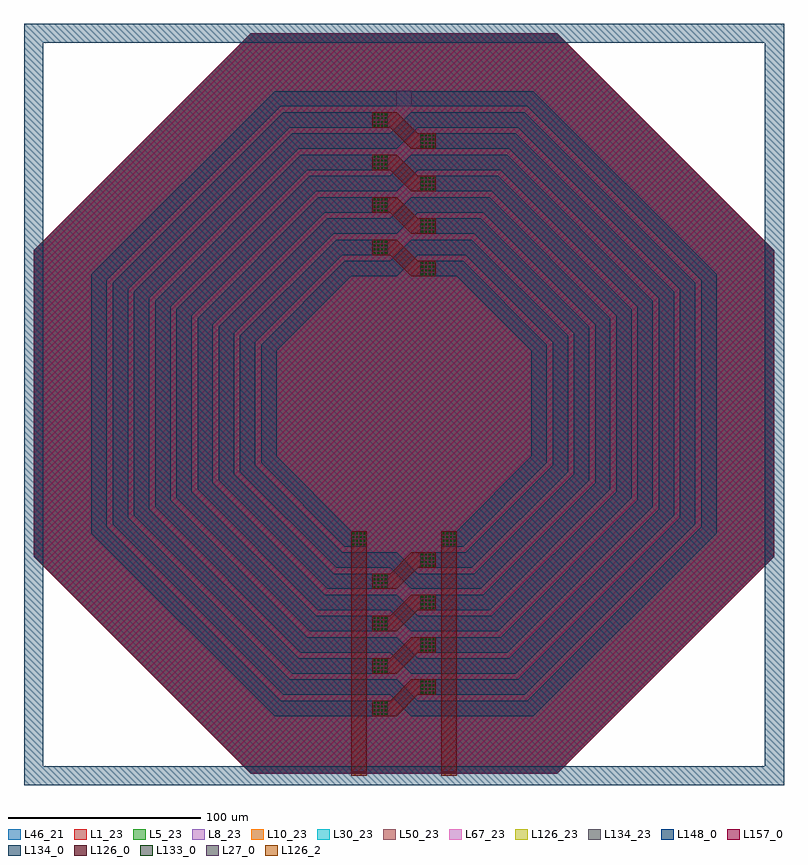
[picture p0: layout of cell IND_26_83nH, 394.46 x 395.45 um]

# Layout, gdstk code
import gdstk
lib = gdstk.Library(unit=1e-6, precision=1e-09)
def R(c, l, rs):  # rectangles x0, y0, x1, y1
    for r in rs: c.add(gdstk.rectangle(r[:2], r[2:], *l))
def A(c, l, x, y, w, h, nx, ny, dx, dy):  # array of equal rectangles
    R(c, l, [(x+i*dx, y+j*dy, x+i*dx+w, y+j*dy+h) for i in range(nx) for j in range(ny)])
def P(c, l, *ps):  # polygons
    for p in ps: c.add(gdstk.Polygon(p, *l))
L1_23 = (1, 23)
L5_23 = (5, 23)
L8_23 = (8, 23)
L10_23 = (10, 23)
L27_0 = (27, 0)
L30_23 = (30, 23)
L46_21 = (46, 21)
L50_23 = (50, 23)
L67_23 = (67, 23)
L126_0 = (126, 0)
L126_2 = (126, 2)
L126_23 = (126, 23)
L133_0 = (133, 0)
L134_0 = (134, 0)
L134_23 = (134, 23)
L148_0 = (148, 0)
L157_0 = (157, 0)

inductor2 = lib.new_cell('inductor2')
P(inductor2, L1_23, [(-79.62,0),(-192.225,112.605),(-192.225,271.845),(-79.62,384.45),(79.62,384.45),(192.225,271.845),(192.225,112.605),(79.62,0)])
P(inductor2, L5_23, [(-79.62,0),(-192.225,112.605),(-192.225,271.845),(-79.62,384.45),(79.62,384.45),(192.225,271.845),(192.225,112.605),(79.62,0)])
P(inductor2, L8_23, [(-79.62,0),(-192.225,112.605),(-192.225,271.845),(-79.62,384.45),(79.62,384.45),(192.225,271.845),(192.225,112.605),(79.62,0)])
P(inductor2, L10_23, [(-79.62,0),(-192.225,112.605),(-192.225,271.845),(-79.62,384.45),(79.62,384.45),(192.225,271.845),(192.225,112.605),(79.62,0)])
R(inductor2, L27_0, [(-4.01,346.42,4.01,354.44)])
P(inductor2, L30_23, [(-79.62,0),(-192.225,112.605),(-192.225,271.845),(-79.62,384.45),(79.62,384.45),(192.225,271.845),(192.225,112.605),(79.62,0)])
P(inductor2, L46_21, [(-79.62,0),(-192.225,112.605),(-192.225,271.845),(-79.62,384.45),(79.62,384.45),(192.225,271.845),(192.225,112.605),(79.62,0)])
P(inductor2, L50_23, [(-79.62,0),(-192.225,112.605),(-192.225,271.845),(-79.62,384.45),(79.62,384.45),(192.225,271.845),(192.225,112.605),(79.62,0)])
P(inductor2, L67_23, [(-79.62,0),(-192.225,112.605),(-192.225,271.845),(-79.62,384.45),(79.62,384.45),(192.225,271.845),(192.225,112.605),(79.62,0)])
P(inductor2, L126_0, [(3.865,258.27),(-7.155,269.29),(-16.415,269.29),(-16.415,277.29),(-3.865,277.29),(7.155,266.27),(16.415,266.27),(16.415,258.27)],
  [(3.865,280.31),(-7.155,291.33),(-16.415,291.33),(-16.415,299.33),(-3.865,299.33),(7.155,288.31),(16.415,288.31),(16.415,280.31)],
  [(-16.415,96),(-16.415,104),(-7.165,104),(3.835,115),(16.425,115),(16.425,107),(7.155,107),(-3.845,96)],
  [(3.865,302.35),(-7.155,313.37),(-16.415,313.37),(-16.415,321.37),(-3.865,321.37),(7.155,310.35),(16.415,310.35),(16.415,302.35)],
  [(-16.415,74),(-16.415,82),(-7.165,82),(3.835,93),(16.425,93),(16.425,85),(7.155,85),(-3.845,74)],
  [(3.865,324.39),(-7.155,335.41),(-16.415,335.41),(-16.415,343.41),(-3.865,343.41),(7.155,332.39),(16.415,332.39),(16.415,324.39)],
  [(-16.415,52),(-16.415,60),(-7.165,60),(3.835,71),(16.425,71),(16.425,63),(7.155,63),(-3.845,52)],
  [(-16.415,30),(-16.415,38),(-7.165,38),(3.835,49),(16.425,49),(16.425,41),(7.155,41),(-3.845,30)])
R(inductor2, L126_2, [(-27.415,-1,-19.415,1), (19.415,-1,27.415,1)])
P(inductor2, L126_23, [(-79.62,0),(-192.225,112.605),(-192.225,271.845),(-79.62,384.45),(79.62,384.45),(192.225,271.845),(192.225,112.605),(79.62,0)])
A(inductor2, L133_0, -15.805, 30.61, 0.9, 0.9, 4, 4, 1.96, 1.96)
A(inductor2, L133_0, 9.035, 41.61, 0.9, 0.9, 4, 4, 1.96, 1.96)
A(inductor2, L133_0, -15.805, 52.61, 0.9, 0.9, 4, 4, 1.96, 1.96)
A(inductor2, L133_0, 9.035, 63.61, 0.9, 0.9, 4, 4, 1.96, 1.96)
A(inductor2, L133_0, -15.805, 74.61, 0.9, 0.9, 4, 4, 1.96, 1.96)
A(inductor2, L133_0, 9.035, 85.61, 0.9, 0.9, 4, 4, 1.96, 1.96)
A(inductor2, L133_0, -15.805, 96.61, 0.9, 0.9, 4, 4, 1.96, 1.96)
A(inductor2, L133_0, 9.035, 107.61, 0.9, 0.9, 4, 4, 1.96, 1.96)
A(inductor2, L133_0, -26.805, 118.61, 0.9, 0.9, 4, 4, 1.96, 1.96)
A(inductor2, L133_0, 20.025, 118.61, 0.9, 0.9, 4, 4, 1.96, 1.96)
A(inductor2, L133_0, 9.025, 258.88, 0.9, 0.9, 4, 4, 1.96, 1.96)
A(inductor2, L133_0, -15.805, 269.88, 0.9, 0.9, 4, 4, 1.96, 1.96)
A(inductor2, L133_0, 9.025, 280.92, 0.9, 0.9, 4, 4, 1.96, 1.96)
A(inductor2, L133_0, -15.805, 291.92, 0.9, 0.9, 4, 4, 1.96, 1.96)
A(inductor2, L133_0, 9.025, 302.96, 0.9, 0.9, 4, 4, 1.96, 1.96)
A(inductor2, L133_0, -15.805, 313.96, 0.9, 0.9, 4, 4, 1.96, 1.96)
A(inductor2, L133_0, 9.025, 325, 0.9, 0.9, 4, 4, 1.96, 1.96)
A(inductor2, L133_0, -15.805, 336, 0.9, 0.9, 4, 4, 1.96, 1.96)
R(inductor2, L134_0, [(-8.415,346.43,8.415,354.43)])
P(inductor2, L134_0, [(19.415,118),(19.415,126),(27.39,126),(66.135,164.745),(66.135,219.525),(27.39,258.27),(8.415,258.27),(8.415,266.27),(30.71,266.27),(74.135,222.845),(74.135,161.425),(30.71,118)],
  [(-30.71,118),(-74.135,161.425),(-74.135,222.845),(-30.71,266.27),(-8.415,266.27),(-8.415,258.27),(-27.39,258.27),(-66.135,219.525),(-66.135,164.745),(-27.39,126),(-19.415,126),(-19.415,118)],
  [(-8.415,258.27),(-8.415,266.27),(-7.155,266.27),(3.865,277.29),(8.415,277.29),(8.415,269.29),(7.185,269.29),(-3.835,258.27)],
  [(8.415,107),(8.415,115),(31.95,115),(77.145,160.195),(77.145,224.095),(31.95,269.29),(8.415,269.29),(8.415,277.29),(35.27,277.29),(85.145,227.415),(85.145,156.875),(35.27,107)],
  [(-35.27,107),(-85.145,156.875),(-85.145,227.415),(-35.27,277.29),(-8.415,277.29),(-8.415,269.29),(-31.95,269.29),(-77.145,224.095),(-77.145,160.195),(-31.95,115),(-8.415,115),(-8.415,107)],
  [(8.415,96),(8.415,104),(36.515,104),(88.155,155.64),(88.155,228.67),(36.515,280.31),(8.415,280.31),(8.415,288.31),(39.835,288.31),(96.155,231.99),(96.155,152.32),(39.835,96)],
  [(-39.835,96),(-96.155,152.32),(-96.155,231.99),(-39.835,288.31),(-8.415,288.31),(-8.415,280.31),(-36.515,280.31),(-88.155,228.67),(-88.155,155.64),(-36.515,104),(-8.415,104),(-8.415,96)],
  [(-8.415,280.31),(-8.415,288.31),(-7.155,288.31),(3.865,299.33),(8.415,299.33),(8.415,291.33),(7.185,291.33),(-3.835,280.31)],
  [(3.845,96),(-7.155,107),(-8.415,107),(-8.415,115),(-3.835,115),(7.165,104),(8.415,104),(8.415,96)],
  [(8.415,85),(8.415,93),(41.075,93),(99.165,151.09),(99.165,233.24),(41.075,291.33),(8.415,291.33),(8.415,299.33),(44.395,299.33),(107.165,236.56),(107.165,147.77),(44.395,85)],
  [(-44.395,85),(-107.165,147.77),(-107.165,236.56),(-44.395,299.33),(-8.415,299.33),(-8.415,291.33),(-41.075,291.33),(-99.165,233.24),(-99.165,151.09),(-41.075,93),(-8.415,93),(-8.415,85)],
  [(8.415,74),(8.415,82),(45.635,82),(110.175,146.54),(110.175,237.81),(45.635,302.35),(8.415,302.35),(8.415,310.35),(48.955,310.35),(118.175,241.13),(118.175,143.22),(48.955,74)],
  [(-48.955,74),(-118.175,143.22),(-118.175,241.13),(-48.955,310.35),(-8.415,310.35),(-8.415,302.35),(-45.635,302.35),(-110.175,237.81),(-110.175,146.54),(-45.635,82),(-8.415,82),(-8.415,74)],
  [(-8.415,302.35),(-8.415,310.35),(-7.155,310.35),(3.865,321.37),(8.415,321.37),(8.415,313.37),(7.185,313.37),(-3.835,302.35)],
  [(3.845,74),(-7.155,85),(-8.415,85),(-8.415,93),(-3.835,93),(7.165,82),(8.415,82),(8.415,74)],
  [(8.415,63),(8.415,71),(50.195,71),(121.185,141.99),(121.185,242.38),(50.195,313.37),(8.415,313.37),(8.415,321.37),(53.515,321.37),(129.185,245.7),(129.185,138.67),(53.515,63)],
  [(-53.515,63),(-129.185,138.67),(-129.185,245.7),(-53.515,321.37),(-8.415,321.37),(-8.415,313.37),(-50.195,313.37),(-121.185,242.38),(-121.185,141.99),(-50.195,71),(-8.415,71),(-8.415,63)],
  [(8.415,52),(8.415,60),(54.755,60),(132.195,137.44),(132.195,246.95),(54.755,324.39),(8.415,324.39),(8.415,332.39),(58.075,332.39),(140.195,250.27),(140.195,134.12),(58.075,52)],
  [(-58.075,52),(-140.195,134.12),(-140.195,250.27),(-58.075,332.39),(-8.415,332.39),(-8.415,324.39),(-54.755,324.39),(-132.195,246.95),(-132.195,137.44),(-54.755,60),(-8.415,60),(-8.415,52)],
  [(-8.415,324.39),(-8.415,332.39),(-7.155,332.39),(3.865,343.41),(8.415,343.41),(8.415,335.41),(7.185,335.41),(-3.835,324.39)],
  [(3.845,52),(-7.155,63),(-8.415,63),(-8.415,71),(-3.835,71),(7.165,60),(8.415,60),(8.415,52)],
  [(8.415,41),(8.415,49),(59.315,49),(143.205,132.89),(143.205,251.52),(59.315,335.41),(8.415,335.41),(8.415,343.41),(62.635,343.41),(151.205,254.84),(151.205,129.57),(62.635,41)],
  [(-62.635,41),(-151.205,129.57),(-151.205,254.84),(-62.635,343.41),(-8.415,343.41),(-8.415,335.41),(-59.315,335.41),(-143.205,251.52),(-143.205,132.89),(-59.315,49),(-8.415,49),(-8.415,41)],
  [(8.415,30),(8.415,38),(63.875,38),(154.215,128.34),(154.215,256.09),(63.875,346.43),(8.415,346.43),(8.415,354.43),(67.195,354.43),(162.215,259.41),(162.215,125.02),(67.195,30)],
  [(-67.195,30),(-162.215,125.02),(-162.215,259.41),(-67.195,354.43),(-8.415,354.43),(-8.415,346.43),(-63.875,346.43),(-154.215,256.09),(-154.215,128.34),(-63.875,38),(-8.415,38),(-8.415,30)],
  [(3.845,30),(-7.155,41),(-8.415,41),(-8.415,49),(-3.835,49),(7.165,38),(8.415,38),(8.415,30)])
P(inductor2, L134_23, [(-79.62,0),(-192.225,112.605),(-192.225,271.845),(-79.62,384.45),(79.62,384.45),(192.225,271.845),(192.225,112.605),(79.62,0)])
P(inductor2, L148_0, [(-79.62,0),(-192.225,112.605),(-192.225,271.845),(-79.62,384.45),(79.62,384.45),(192.225,271.845),(192.225,112.605),(79.62,0)])
P(inductor2, L157_0, [(-79.62,0),(-192.225,112.605),(-192.225,271.845),(-79.62,384.45),(79.62,384.45),(192.225,271.845),(192.225,112.605),(79.62,0)])
inductor2.add(gdstk.FlexPath([(23.415,-1),(23.415,126)], 8, ends="flush", simple_path=True, layer=126, datatype=0))  # L126_0
inductor2.add(gdstk.FlexPath([(-23.415,-1),(-23.415,126)], 8, ends="flush", simple_path=True, layer=126, datatype=0))  # L126_0
inductor2.add(gdstk.Label('L2_TM2', (0,350.43), layer=63, texttype=0))
inductor2.add(gdstk.Label('l=1p', (0,353.097), layer=63, texttype=0))
inductor2.add(gdstk.Label('r=1m', (0,347.763), layer=63, texttype=0))
inductor2.add(gdstk.Label('LB', (23.415,0), layer=63, texttype=0))
inductor2.add(gdstk.Label('LA', (-23.415,0), layer=63, texttype=0))
inductor2.add(gdstk.Label('inductor2', (0,204.265), layer=63, texttype=0))

ind_26_83nh = lib.new_cell('IND_26_83nH')
ind_26_83nh.add(gdstk.FlexPath([(192.23,-1),(-192.23,-1),(-192.23,384.45),(192.23,384.45),(192.23,-6)], 10, ends="flush", simple_path=True, layer=134, datatype=0))  # L134_0
ind_26_83nh.add(gdstk.Reference(inductor2, (0,0)))

lib.write_gds('IND_26_83nH.gds')
